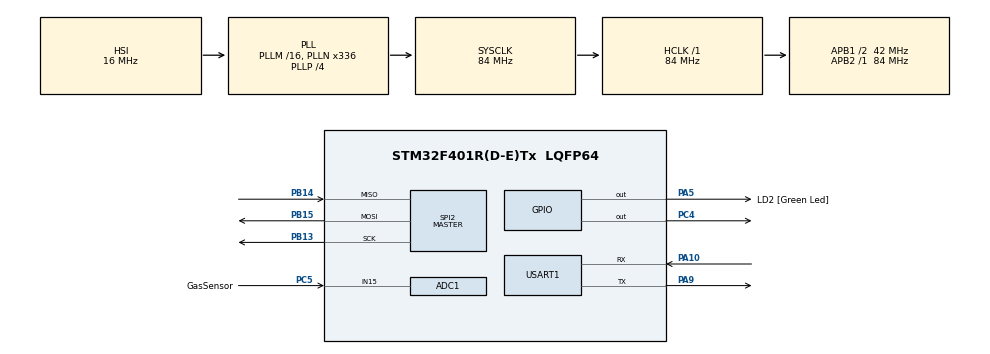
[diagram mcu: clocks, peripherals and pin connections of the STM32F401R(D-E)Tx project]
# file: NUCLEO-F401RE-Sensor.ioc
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Mcu.Family=STM32F4
RCC.CortexFreq_Value=84000000
FATFS._USE_LFN=1
SPI2.VirtualType=VM_MASTER
TIM1.RepetitionCounter=0
VP_RTC_VS_RTC_Activate.Mode=RTC_Enabled
PB15.Signal=SPI2_MOSI
PB13.Signal=SPI2_SCK
RCC.SYSCLKSource=RCC_SYSCLKSOURCE_PLLCLK
ProjectManager.StackSize=0x400
TIM1.Prescaler=62500
RCC.RCC_RTC_Clock_Source=RCC_RTCCLKSOURCE_LSI
RCC.HCLKFreq_Value=84000000
RCC.APB2TimFreq_Value=84000000
RCC.AHBFreq_Value=84000000
Dma.USART1_RX.0.Priority=DMA_PRIORITY_LOW
RCC.HSE_VALUE=8000000
RTC.Minutes=40
SH.ADCx_IN15.0=ADC1_IN15,IN15
PC4.GPIO_Speed=GPIO_SPEED_FREQ_LOW
RTC.Month=RTC_MONTH_SEPTEMBER
PB14.Mode=Full_Duplex_Master
TIM3.Prescaler=64088
PA5.GPIO_PuPd=GPIO_NOPULL
NVIC.TIM2_IRQn=true\:1\:0\:true\:false\:true\:true\:true
TIM4.Period=13440
Dma.USART1_RX.0.MemInc=DMA_MINC_ENABLE
VP_TIM1_VS_ClockSourceINT.Mode=Internal
Mcu.Package=LQFP64
TIM2.Prescaler=62500
SPI2.Mode=SPI_MODE_MASTER
PA10.Signal=USART1_RX
VP_RTC_VS_RTC_Calendar.Mode=RTC_Calendar
Dma.USART1_RX.0.FIFOMode=DMA_FIFOMODE_DISABLE
NVIC.DMA2_Stream2_IRQn=true\:0\:0\:false\:false\:true\:false\:true
RCC.APB1TimFreq_Value=84000000
Dma.USART1_RX.0.Mode=DMA_NORMAL
SPI2.Direction=SPI_DIRECTION_2LINES
PC5.Signal=ADCx_IN15
TIM1.Period=6720
PB13.Mode=Full_Duplex_Master
NVIC.USART1_IRQn=true\:0\:0\:false\:false\:true\:true\:true
Dma.Request0=USART1_RX
Dma.USART1_RX.0.Instance=DMA2_Stream2
VP_TIM3_VS_ClockSourceINT.Mode=Internal
Dma.USART1_RX.0.PeriphDataAlignment=DMA_PDATAALIGN_BYTE
PA10.Mode=Asynchronous
PC4.PinState=GPIO_PIN_RESET
PC4.Signal=GPIO_Output
RCC.APB1CLKDivider=RCC_HCLK_DIV2
PA9.Mode=Asynchronous
ProjectManager.TargetToolchain=STM32CubeIDE
RTC.Year=20
Dma.USART1_RX.0.Direction=DMA_PERIPH_TO_MEMORY
PA9.Signal=USART1_TX
ADC1.Channel-1\#ChannelRegularConversion=ADC_CHANNEL_15
RTC.Format=RTC_FORMAT_BIN
TIM4.Prescaler=62500
RCC.LSE_VALUE=32768
Dma.USART1_RX.0.PeriphInc=DMA_PINC_DISABLE
VP_FATFS_VS_Generic.Mode=User_defined
PB14.Signal=SPI2_MISO
PA5.Signal=GPIO_Output
board=NUCLEO-F401RE
RCC.VCOOutputFreq_Value=336000000
PB15.Mode=Full_Duplex_Master
NVIC.TIM3_IRQn=true\:1\:0\:true\:false\:true\:true\:true
RCC.APB2Freq_Value=84000000
VP_TIM2_VS_ClockSourceINT.Mode=Internal
Dma.USART1_RX.0.MemDataAlignment=DMA_MDATAALIGN_BYTE
RCC.RCC_RTC_Clock_SourceVirtual=RCC_RTCCLKSOURCE_LSE
TIM2.Period=13440
Mcu.Name=STM32F401R(D-E)Tx
FATFS._MAX_SS=4096
ADC1.SamplingTime-1\#ChannelRegularConversion=ADC_SAMPLETIME_3CYCLES
RCC.SYSCLKFreq_VALUE=84000000
RTC.Hours=21
ADC1.master=1
PA5.GPIO_Label=LD2 [Green Led]
PC5.GPIO_Label=GasSensor
USART1.VirtualMode=VM_ASYNC
ADC1.Rank-1\#ChannelRegularConversion=1
ProjectManager.HeapSize=0x200
NVIC.TIM1_UP_TIM10_IRQn=true\:1\:0\:true\:false\:true\:true\:true
RCC.HSI_VALUE=16000000
VP_TIM4_VS_ClockSourceINT.Mode=Internal
RCC.PLLP=RCC_PLLP_DIV4
PA5.GPIO_Speed=GPIO_SPEED_FREQ_LOW
RCC.PLLQ=7
NVIC.PriorityGroup=NVIC_PRIORITYGROUP_1
ADC1.NbrOfConversionFlag=1
RCC.PLLN=336
SPI2.DataSize=SPI_DATASIZE_8BIT
NVIC.TIM4_IRQn=true\:1\:0\:true\:false\:true\:true\:true
RCC.APB1Freq_Value=42000000
PA5.GPIO_Mode=GPIO_MODE_OUTPUT_PP
RTC.Date=14

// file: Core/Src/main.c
/* USER CODE BEGIN Header */
/**
  ******************************************************************************
  * @file           : main.c
  * @brief          : Main program body
  ******************************************************************************
  * @attention
  *
  * <h2><center>&copy; Copyright (c) 2020 STMicroelectronics.
  * All rights reserved.</center></h2>
  *
  * This software component is licensed by ST under BSD 3-Clause license,
  * the "License"; You may not use this file except in compliance with the
  * License. You may obtain a copy of the License at:
  *                        opensource.org/licenses/BSD-3-Clause
  *
  ******************************************************************************
  */
/* USER CODE END Header */
#include "main.h"
#include "fatfs.h"

/* USER CODE BEGIN Includes */
#include "fatfs_sd.h"
#include <string.h>
#include <stdio.h>
#include "MicroSD.h"
#include "wifi.h"

/* USER CODE END Includes */

ADC_HandleTypeDef hadc1;

RTC_HandleTypeDef hrtc;

SPI_HandleTypeDef hspi2;

TIM_HandleTypeDef htim1;
TIM_HandleTypeDef htim2;
TIM_HandleTypeDef htim3;
TIM_HandleTypeDef htim4;

UART_HandleTypeDef huart1;
DMA_HandleTypeDef hdma_usart1_rx;

/* USER CODE BEGIN PV */

RTC_TimeTypeDef sTime = {0};
RTC_DateTypeDef sDate = {0};

int ServerQueriesSocketID = -1;
int GasSensorSocketID = -1;

// ---------------------------------------
// ------------ CONFIG VARS --------------
// ---------------------------------------

WiFi_GeneralInfo wifi_info;

// ---------------------------------------

/* USER CODE END PV */

void SystemClock_Config(void);
static void MX_GPIO_Init(void);
static void MX_DMA_Init(void);
static void MX_ADC1_Init(void);
static void MX_SPI2_Init(void);
static void MX_RTC_Init(void);
static void MX_TIM1_Init(void);
static void MX_USART1_UART_Init(void);
static void MX_TIM2_Init(void);
static void MX_TIM3_Init(void);
static void MX_TIM4_Init(void);
/* USER CODE BEGIN PFP */

void LoadConfigs(void);

/* USER CODE END PFP */

int main(void)
{

  /* MCU Configuration--------------------------------------------------------*/

  /* Reset of all peripherals, Initializes the Flash interface and the Systick. */
  HAL_Init();

  /* Configure the system clock */
  SystemClock_Config();

  /* Initialize all configured peripherals */
  MX_GPIO_Init();
  MX_DMA_Init();
  MX_ADC1_Init();
  MX_SPI2_Init();
  MX_FATFS_Init();
  MX_RTC_Init();
  MX_TIM1_Init();
  MX_USART1_UART_Init();
  MX_TIM2_Init();
  MX_TIM3_Init();
  MX_TIM4_Init();
  /* USER CODE BEGIN 2 */

  LoadConfigs();
  WiFi_Connect(wifi_info.SSID, wifi_info.SecKey, wifi_info.PrivMode);

	HAL_TIM_Base_Start_IT(&htim4);
	HAL_TIM_Base_Start_IT(&htim1);
	HAL_TIM_Base_Start_IT(&htim2);
	HAL_TIM_Base_Start_IT(&htim3);

  /* USER CODE END 2 */

  /* Infinite loop */
  while (1)
  {

  }
}

void SystemClock_Config(void)
{
  RCC_OscInitTypeDef RCC_OscInitStruct = {0};
  RCC_ClkInitTypeDef RCC_ClkInitStruct = {0};
  RCC_PeriphCLKInitTypeDef PeriphClkInitStruct = {0};

  /** Configure the main internal regulator output voltage
  */
  __HAL_RCC_PWR_CLK_ENABLE();
  __HAL_PWR_VOLTAGESCALING_CONFIG(PWR_REGULATOR_VOLTAGE_SCALE2);
  /** Initializes the RCC Oscillators according to the specified parameters
  * in the RCC_OscInitTypeDef structure.
  */
  RCC_OscInitStruct.OscillatorType = RCC_OSCILLATORTYPE_HSI|RCC_OSCILLATORTYPE_LSI;
  RCC_OscInitStruct.HSIState = RCC_HSI_ON;
  RCC_OscInitStruct.HSICalibrationValue = RCC_HSICALIBRATION_DEFAULT;
  RCC_OscInitStruct.LSIState = RCC_LSI_ON;
  RCC_OscInitStruct.PLL.PLLState = RCC_PLL_ON;
  RCC_OscInitStruct.PLL.PLLSource = RCC_PLLSOURCE_HSI;
  RCC_OscInitStruct.PLL.PLLM = 16;
  RCC_OscInitStruct.PLL.PLLN = 336;
  RCC_OscInitStruct.PLL.PLLP = RCC_PLLP_DIV4;
  RCC_OscInitStruct.PLL.PLLQ = 7;
  if (HAL_RCC_OscConfig(&RCC_OscInitStruct) != HAL_OK)
  {
    Error_Handler();
  }
  /** Initializes the CPU, AHB and APB buses clocks
  */
  RCC_ClkInitStruct.ClockType = RCC_CLOCKTYPE_HCLK|RCC_CLOCKTYPE_SYSCLK
                              |RCC_CLOCKTYPE_PCLK1|RCC_CLOCKTYPE_PCLK2;
  RCC_ClkInitStruct.SYSCLKSource = RCC_SYSCLKSOURCE_PLLCLK;
  RCC_ClkInitStruct.AHBCLKDivider = RCC_SYSCLK_DIV1;
  RCC_ClkInitStruct.APB1CLKDivider = RCC_HCLK_DIV2;
  RCC_ClkInitStruct.APB2CLKDivider = RCC_HCLK_DIV1;

  if (HAL_RCC_ClockConfig(&RCC_ClkInitStruct, FLASH_LATENCY_2) != HAL_OK)
  {
    Error_Handler();
  }
  PeriphClkInitStruct.PeriphClockSelection = RCC_PERIPHCLK_RTC;
  PeriphClkInitStruct.RTCClockSelection = RCC_RTCCLKSOURCE_LSI;
  if (HAL_RCCEx_PeriphCLKConfig(&PeriphClkInitStruct) != HAL_OK)
  {
    Error_Handler();
  }
}

static void MX_ADC1_Init(void)
{

  ADC_ChannelConfTypeDef sConfig = {0};

  /** Configure the global features of the ADC (Clock, Resolution, Data Alignment and number of conversion)
  */
  hadc1.Instance = ADC1;
  hadc1.Init.ClockPrescaler = ADC_CLOCK_SYNC_PCLK_DIV4;
  hadc1.Init.Resolution = ADC_RESOLUTION_12B;
  hadc1.Init.ScanConvMode = DISABLE;
  hadc1.Init.ContinuousConvMode = DISABLE;
  hadc1.Init.DiscontinuousConvMode = DISABLE;
  hadc1.Init.ExternalTrigConvEdge = ADC_EXTERNALTRIGCONVEDGE_NONE;
  hadc1.Init.ExternalTrigConv = ADC_SOFTWARE_START;
  hadc1.Init.DataAlign = ADC_DATAALIGN_RIGHT;
  hadc1.Init.NbrOfConversion = 1;
  hadc1.Init.DMAContinuousRequests = DISABLE;
  hadc1.Init.EOCSelection = ADC_EOC_SINGLE_CONV;
  if (HAL_ADC_Init(&hadc1) != HAL_OK)
  {
    Error_Handler();
  }
  /** Configure for the selected ADC regular channel its corresponding rank in the sequencer and its sample time.
  */
  sConfig.Channel = ADC_CHANNEL_15;
  sConfig.Rank = 1;
  sConfig.SamplingTime = ADC_SAMPLETIME_3CYCLES;
  if (HAL_ADC_ConfigChannel(&hadc1, &sConfig) != HAL_OK)
  {
    Error_Handler();
  }

}

static void MX_RTC_Init(void)
{

  RTC_TimeTypeDef sTime = {0};
  RTC_DateTypeDef sDate = {0};

  /** Initialize RTC Only
  */
  hrtc.Instance = RTC;
  hrtc.Init.HourFormat = RTC_HOURFORMAT_24;
  hrtc.Init.AsynchPrediv = 127;
  hrtc.Init.SynchPrediv = 255;
  hrtc.Init.OutPut = RTC_OUTPUT_DISABLE;
  hrtc.Init.OutPutPolarity = RTC_OUTPUT_POLARITY_HIGH;
  hrtc.Init.OutPutType = RTC_OUTPUT_TYPE_OPENDRAIN;
  if (HAL_RTC_Init(&hrtc) != HAL_OK)
  {
    Error_Handler();
  }

  /** Initialize RTC and set the Time and Date
  */
  sTime.Hours = 21;
  sTime.Minutes = 40;
  sTime.Seconds = 0;
  sTime.DayLightSaving = RTC_DAYLIGHTSAVING_NONE;
  sTime.StoreOperation = RTC_STOREOPERATION_RESET;
  if (HAL_RTC_SetTime(&hrtc, &sTime, RTC_FORMAT_BIN) != HAL_OK)
  {
    Error_Handler();
  }
  sDate.WeekDay = RTC_WEEKDAY_MONDAY;
  sDate.Month = RTC_MONTH_SEPTEMBER;
  sDate.Date = 14;
  sDate.Year = 20;

  if (HAL_RTC_SetDate(&hrtc, &sDate, RTC_FORMAT_BIN) != HAL_OK)
  {
    Error_Handler();
  }

}

static void MX_SPI2_Init(void)
{

  /* SPI2 parameter configuration*/
  hspi2.Instance = SPI2;
  hspi2.Init.Mode = SPI_MODE_MASTER;
  hspi2.Init.Direction = SPI_DIRECTION_2LINES;
  hspi2.Init.DataSize = SPI_DATASIZE_8BIT;
  hspi2.Init.CLKPolarity = SPI_POLARITY_LOW;
  hspi2.Init.CLKPhase = SPI_PHASE_1EDGE;
  hspi2.Init.NSS = SPI_NSS_SOFT;
  hspi2.Init.BaudRatePrescaler = SPI_BAUDRATEPRESCALER_2;
  hspi2.Init.FirstBit = SPI_FIRSTBIT_MSB;
  hspi2.Init.TIMode = SPI_TIMODE_DISABLE;
  hspi2.Init.CRCCalculation = SPI_CRCCALCULATION_DISABLE;
  hspi2.Init.CRCPolynomial = 10;
  if (HAL_SPI_Init(&hspi2) != HAL_OK)
  {
    Error_Handler();
  }

}

static void MX_TIM1_Init(void)
{

  TIM_ClockConfigTypeDef sClockSourceConfig = {0};
  TIM_MasterConfigTypeDef sMasterConfig = {0};

  htim1.Instance = TIM1;
  htim1.Init.Prescaler = 62500;
  htim1.Init.CounterMode = TIM_COUNTERMODE_UP;
  htim1.Init.Period = 6720;
  htim1.Init.ClockDivision = TIM_CLOCKDIVISION_DIV1;
  htim1.Init.RepetitionCounter = 0;
  htim1.Init.AutoReloadPreload = TIM_AUTORELOAD_PRELOAD_DISABLE;
  if (HAL_TIM_Base_Init(&htim1) != HAL_OK)
  {
    Error_Handler();
  }
  sClockSourceConfig.ClockSource = TIM_CLOCKSOURCE_INTERNAL;
  if (HAL_TIM_ConfigClockSource(&htim1, &sClockSourceConfig) != HAL_OK)
  {
    Error_Handler();
  }
  sMasterConfig.MasterOutputTrigger = TIM_TRGO_RESET;
  sMasterConfig.MasterSlaveMode = TIM_MASTERSLAVEMODE_DISABLE;
  if (HAL_TIMEx_MasterConfigSynchronization(&htim1, &sMasterConfig) != HAL_OK)
  {
    Error_Handler();
  }

}

static void MX_TIM2_Init(void)
{

  TIM_ClockConfigTypeDef sClockSourceConfig = {0};
  TIM_MasterConfigTypeDef sMasterConfig = {0};

  htim2.Instance = TIM2;
  htim2.Init.Prescaler = 62500;
  htim2.Init.CounterMode = TIM_COUNTERMODE_UP;
  htim2.Init.Period = 13440;
  htim2.Init.ClockDivision = TIM_CLOCKDIVISION_DIV1;
  htim2.Init.AutoReloadPreload = TIM_AUTORELOAD_PRELOAD_DISABLE;
  if (HAL_TIM_Base_Init(&htim2) != HAL_OK)
  {
    Error_Handler();
  }
  sClockSourceConfig.ClockSource = TIM_CLOCKSOURCE_INTERNAL;
  if (HAL_TIM_ConfigClockSource(&htim2, &sClockSourceConfig) != HAL_OK)
  {
    Error_Handler();
  }
  sMasterConfig.MasterOutputTrigger = TIM_TRGO_RESET;
  sMasterConfig.MasterSlaveMode = TIM_MASTERSLAVEMODE_DISABLE;
  if (HAL_TIMEx_MasterConfigSynchronization(&htim2, &sMasterConfig) != HAL_OK)
  {
    Error_Handler();
  }

}

static void MX_TIM3_Init(void)
{

  TIM_ClockConfigTypeDef sClockSourceConfig = {0};
  TIM_MasterConfigTypeDef sMasterConfig = {0};

  htim3.Instance = TIM3;
  htim3.Init.Prescaler = 62500;
  htim3.Init.CounterMode = TIM_COUNTERMODE_UP;
  htim3.Init.Period = 26880;
  htim3.Init.ClockDivision = TIM_CLOCKDIVISION_DIV1;
  htim3.Init.AutoReloadPreload = TIM_AUTORELOAD_PRELOAD_DISABLE;
  if (HAL_TIM_Base_Init(&htim3) != HAL_OK)
  {
    Error_Handler();
  }
  sClockSourceConfig.ClockSource = TIM_CLOCKSOURCE_INTERNAL;
  if (HAL_TIM_ConfigClockSource(&htim3, &sClockSourceConfig) != HAL_OK)
  {
    Error_Handler();
  }
  sMasterConfig.MasterOutputTrigger = TIM_TRGO_RESET;
  sMasterConfig.MasterSlaveMode = TIM_MASTERSLAVEMODE_DISABLE;
  if (HAL_TIMEx_MasterConfigSynchronization(&htim3, &sMasterConfig) != HAL_OK)
  {
    Error_Handler();
  }

}

static void MX_TIM4_Init(void)
{

  TIM_ClockConfigTypeDef sClockSourceConfig = {0};
  TIM_MasterConfigTypeDef sMasterConfig = {0};

  htim4.Instance = TIM4;
  htim4.Init.Prescaler = 62500;
  htim4.Init.CounterMode = TIM_COUNTERMODE_UP;
  htim4.Init.Period = 13440;
  htim4.Init.ClockDivision = TIM_CLOCKDIVISION_DIV1;
  htim4.Init.AutoReloadPreload = TIM_AUTORELOAD_PRELOAD_DISABLE;
  if (HAL_TIM_Base_Init(&htim4) != HAL_OK)
  {
    Error_Handler();
  }
  sClockSourceConfig.ClockSource = TIM_CLOCKSOURCE_INTERNAL;
  if (HAL_TIM_ConfigClockSource(&htim4, &sClockSourceConfig) != HAL_OK)
  {
    Error_Handler();
  }
  sMasterConfig.MasterOutputTrigger = TIM_TRGO_RESET;
  sMasterConfig.MasterSlaveMode = TIM_MASTERSLAVEMODE_DISABLE;
  if (HAL_TIMEx_MasterConfigSynchronization(&htim4, &sMasterConfig) != HAL_OK)
  {
    Error_Handler();
  }

}

static void MX_USART1_UART_Init(void)
{

  huart1.Instance = USART1;
  huart1.Init.BaudRate = 115200;
  huart1.Init.WordLength = UART_WORDLENGTH_8B;
  huart1.Init.StopBits = UART_STOPBITS_1;
  huart1.Init.Parity = UART_PARITY_NONE;
  huart1.Init.Mode = UART_MODE_TX_RX;
  huart1.Init.HwFlowCtl = UART_HWCONTROL_NONE;
  huart1.Init.OverSampling = UART_OVERSAMPLING_16;
  if (HAL_UART_Init(&huart1) != HAL_OK)
  {
    Error_Handler();
  }

}

static void MX_DMA_Init(void)
{

  /* DMA controller clock enable */
  __HAL_RCC_DMA2_CLK_ENABLE();

  /* DMA interrupt init */
  /* DMA2_Stream2_IRQn interrupt configuration */
  HAL_NVIC_SetPriority(DMA2_Stream2_IRQn, 0, 0);
  HAL_NVIC_EnableIRQ(DMA2_Stream2_IRQn);

}

static void MX_GPIO_Init(void)
{
  GPIO_InitTypeDef GPIO_InitStruct = {0};

  /* GPIO Ports Clock Enable */
  __HAL_RCC_GPIOA_CLK_ENABLE();
  __HAL_RCC_GPIOC_CLK_ENABLE();
  __HAL_RCC_GPIOB_CLK_ENABLE();

  /*Configure GPIO pin Output Level */
  HAL_GPIO_WritePin(LD2_GPIO_Port, LD2_Pin, GPIO_PIN_RESET);

  /*Configure GPIO pin Output Level */
  HAL_GPIO_WritePin(GPIOC, GPIO_PIN_4, GPIO_PIN_RESET);

  /*Configure GPIO pin : LD2_Pin */
  GPIO_InitStruct.Pin = LD2_Pin;
  GPIO_InitStruct.Mode = GPIO_MODE_OUTPUT_PP;
  GPIO_InitStruct.Pull = GPIO_NOPULL;
  GPIO_InitStruct.Speed = GPIO_SPEED_FREQ_LOW;
  HAL_GPIO_Init(LD2_GPIO_Port, &GPIO_InitStruct);

  /*Configure GPIO pin : PC4 */
  GPIO_InitStruct.Pin = GPIO_PIN_4;
  GPIO_InitStruct.Mode = GPIO_MODE_OUTPUT_PP;
  GPIO_InitStruct.Pull = GPIO_NOPULL;
  GPIO_InitStruct.Speed = GPIO_SPEED_FREQ_LOW;
  HAL_GPIO_Init(GPIOC, &GPIO_InitStruct);

}

/* USER CODE BEGIN 4 */

uint32_t ParseIntParameter(char *buffer, const char *param, uint32_t defaultValue)
{
	char *parameterStr = strstr(buffer, param);
	uint8_t pointer = strlen(param);
	uint32_t conversionError = 0;
	uint32_t result = 0;

	while(parameterStr[pointer] != ';' && conversionError == 0)
	{
		if(parameterStr[pointer] >= '0' && parameterStr[pointer] <= '9')
		{
			result = (result * 10) + (parameterStr[pointer++] - '0');
		}
		else
		{
			conversionError = 1;
		}
	}

	if(conversionError == 1)
	{
		return defaultValue;
	}

	return result;
}

void ParseStrParameter(char *buffer, const char *param, char *result, size_t arraySize)
{
	char *parameterStr = strstr(buffer, param);
	uint8_t pointer = strlen(param);
	memccpy(result, parameterStr + pointer, ';', arraySize);
	result[strlen(result) - 1] = '\0';
}

void LoadConfigs(void)
{
	char buffer[1000];
	UINT bytesRead;

	ReadConfigs(buffer, &bytesRead);

	sDate.Date = ParseIntParameter(buffer, "Date=", 1);
	sDate.Month = ParseIntParameter(buffer, "Month=", 1);
	sDate.Year = ParseIntParameter(buffer, "Year=", 70);
	sDate.WeekDay = ParseIntParameter(buffer, "WeekDay=", 4);

	sTime.Hours = ParseIntParameter(buffer, "Hours=", 0);
	sTime.Minutes = ParseIntParameter(buffer, "Minutes=", 0);
	sTime.Seconds = ParseIntParameter(buffer, "Seconds=", 0);

	HAL_RTC_SetTime(&hrtc, &sTime, RTC_FORMAT_BIN);
	HAL_RTC_SetDate(&hrtc, &sDate, RTC_FORMAT_BIN);

	wifi_info.Port = ParseIntParameter(buffer, "Port=", 0);
	wifi_info.PrivMode = ParseIntParameter(buffer, "PrivateMode=", 0);
	ParseStrParameter(buffer, "SSID=", wifi_info.SSID, sizeof(wifi_info.SSID));
	ParseStrParameter(buffer, "SecurityKey=", wifi_info.SecKey, sizeof(wifi_info.SecKey));
	ParseStrParameter(buffer, "IP=", wifi_info.IP, sizeof(wifi_info.IP));
	ParseStrParameter(buffer, "Protocol=", wifi_info.Protocol, sizeof(wifi_info.Protocol));

	ParseStrParameter(buffer, "OwnerID=", mc_info.OwnerID, sizeof(mc_info.OwnerID));
	ParseStrParameter(buffer, "MicrocontrollerID=", mc_info.MicrocontrollerID, sizeof(mc_info.MicrocontrollerID));
	ParseStrParameter(buffer, "SensorID=", mc_info.SensorID, sizeof(mc_info.SensorID));
	ParseStrParameter(buffer, "MicrocontrollerPassword=", mc_info.MicrocontrollerPassword, sizeof(mc_info.MicrocontrollerPassword));

	int writeSDIntervalSeconds = ParseIntParameter(buffer, "writeSDIntervalSeconds=", MinSecondsBetweenSDWrite);
	int transmitIntervalSeconds = ParseIntParameter(buffer, "transmitIntervalSeconds=", MinSecondsBetweenWifiTransmit);
	int requestIntervalSeconds = ParseIntParameter(buffer, "requestIntervalSeconds=", MinSecondsBetweenWifiRequest);

	if(writeSDIntervalSeconds > MaxSecondsBetweenSDWrite)
	{
		writeSDIntervalSeconds = MaxSecondsBetweenSDWrite;
	}
	else if (writeSDIntervalSeconds < MinSecondsBetweenSDWrite)
	{
		writeSDIntervalSeconds = MinSecondsBetweenSDWrite;
	}

	if(transmitIntervalSeconds > MaxSecondsBetweenWifiTransmit)
	{
		transmitIntervalSeconds = MaxSecondsBetweenWifiTransmit;
	}
	else if (transmitIntervalSeconds < MinSecondsBetweenWifiTransmit)
	{
		transmitIntervalSeconds = MinSecondsBetweenWifiTransmit;
	}

	if(requestIntervalSeconds > MaxSecondsBetweenWifiRequest)
	{
		requestIntervalSeconds = MaxSecondsBetweenWifiRequest;
	}
	else if (requestIntervalSeconds < MinSecondsBetweenWifiRequest)
	{
		requestIntervalSeconds = MinSecondsBetweenWifiRequest;
	}

	htim1.Instance->ARR = writeSDIntervalSeconds * TactsInOneSecond;
	htim2.Instance->ARR = transmitIntervalSeconds * TactsInOneSecond;
	htim3.Instance->ARR = requestIntervalSeconds * TactsInOneSecond;
}

uint16_t GetSensorValue(void)
{
	uint16_t sensorValue = 0;
	HAL_ADC_Start(&hadc1);
	HAL_ADC_PollForConversion(&hadc1, HAL_MAX_DELAY);
	sensorValue = HAL_ADC_GetValue(&hadc1);

	return sensorValue;
}

void WriteSensorData(const char* sensorID)
{
	HAL_GPIO_WritePin(GPIOA, LD2_Pin, GPIO_PIN_SET);

	uint16_t sensorValue;
	if (ReadDataFromSensor(sensorID, &sensorValue) == 1)
	{
		char line[100];

		snprintf(line, 99, "%s;%d:%d:%d;%d\n", sensorID, sTime.Hours, sTime.Minutes, sTime.Seconds, sensorValue);

		WriteFile(line);
	}

	HAL_GPIO_WritePin(GPIOA, LD2_Pin, GPIO_PIN_RESET);
}

void FromatSensorValueForWiFi(uint16_t sensorValue, char *result, size_t size)
{
	RTC_TimeTypeDef time = {0};
	RTC_DateTypeDef date = {0};

	HAL_RTC_GetTime(&hrtc, &time, RTC_FORMAT_BIN);
	HAL_RTC_GetDate(&hrtc, &date, RTC_FORMAT_BIN);

	snprintf(result, size, "%s|%s;%d/%d/%d %d:%d:%d;%d", SERVER_DATA,
		mc_info.SensorID,
		date.Month, date.Date, date.Year, time.Hours, time.Minutes, time.Seconds,
		sensorValue);
}

void SendData(const char *data)
{
	WiFi_Status_t wifi_status = WiFi_MODULE_SUCCESS;

	if(WiFi_PingServer(wifi_info.IP) != WiFi_MODULE_SUCCESS)
	{
		wifi_status = WiFi_Connect(wifi_info.SSID, wifi_info.SecKey, wifi_info.PrivMode);
	}

	if(wifi_status == WiFi_MODULE_SUCCESS)
	{
		if (GasSensorSocketID != -1)
		{
			Socket_Close(&GasSensorSocketID);
		}

		GasSensorSocketID = Socket_Connect(wifi_info.IP, wifi_info.Port, wifi_info.Protocol);

		if(GasSensorSocketID != -1)
		{
			char receivedData[10];

			if(Socket_TransmitData(GasSensorSocketID, data) == Socket_SUCCESS)
			{
				Socket_ReadData(GasSensorSocketID, receivedData);
			}

			Socket_Close(&ServerQueriesSocketID);
		}
	}
}

void CheckRequests()
{
	WiFi_Status_t wifi_status = WiFi_MODULE_SUCCESS;

	if(WiFi_PingServer(wifi_info.IP) != WiFi_MODULE_SUCCESS)
	{
		wifi_status = WiFi_Connect(wifi_info.SSID, wifi_info.SecKey, wifi_info.PrivMode);
	}

	if(wifi_status == WiFi_MODULE_SUCCESS)
	{
		if (ServerQueriesSocketID != -1)
		{
			Socket_Close(&ServerQueriesSocketID);
		}

		ServerQueriesSocketID = Socket_Connect(wifi_info.IP, wifi_info.Port, wifi_info.Protocol);

		if(ServerQueriesSocketID != -1)
		{
			Socket_Status_t status = Socket_TransmitData(ServerQueriesSocketID, SERVER_REQUEST);

			if(status == Socket_SUCCESS)
			{
				char receivedData[47];
				Socket_ReadData(ServerQueriesSocketID, receivedData);

				if(strstr(receivedData, SERVER_SV_RESP) != NULL)
				{
					char queriedSensorID[37];
					ParseStrParameter(receivedData, "Server_SV|", queriedSensorID, sizeof(queriedSensorID));
					queriedSensorID[36] = '\0';

					uint16_t sensorValue;
					if (ReadDataFromSensor(queriedSensorID, &sensorValue) == 1)
					{
						char sensorData[TransmitDataLength];
						FromatSensorValueForWiFi(sensorValue, sensorData, TransmitDataLength);

						char receivedData[10];

						if(Socket_TransmitData(ServerQueriesSocketID, sensorData) == Socket_SUCCESS)
						{
							Socket_ReadData(ServerQueriesSocketID, receivedData);
						}
					}
				}
			}

			Socket_Close(&ServerQueriesSocketID);
		}
	}
}

int ReadDataFromSensor(const char* sensorID, uint16_t* sensorValue)
{
	if (strcasecmp(sensorID, mc_info.SensorID) == 0)
	{
		*sensorValue = GetSensorValue();
		return 1;
	}

	return 0;
}

void SynchronizeDateTime()
{
	WiFi_Status_t wifi_status = WiFi_MODULE_SUCCESS;

	if(WiFi_PingServer(wifi_info.IP) != WiFi_MODULE_SUCCESS)
	{
		wifi_status = WiFi_Connect(wifi_info.SSID, wifi_info.SecKey, wifi_info.PrivMode);
	}

	if(wifi_status == WiFi_MODULE_SUCCESS)
	{
		int dateTimeSocketID = Socket_Connect(wifi_info.IP, wifi_info.Port, wifi_info.Protocol);

		if(dateTimeSocketID != -1)
		{
			Socket_Status_t status;
			char receivedData[80];
			char sendData[25];

			snprintf(sendData, sizeof(sendData), "%s|%d/%d/%d %d:%d:%d", STM_DATETIME,
				sDate.Month, sDate.Date, sDate.Year,
				sTime.Hours, sTime.Minutes, sTime.Seconds);

			status = Socket_TransmitData(dateTimeSocketID, sendData);

			if(status == Socket_SUCCESS)
			{
				Socket_ReadData(dateTimeSocketID, receivedData);

				if (strstr(receivedData, SERVER_DT_RESP) != NULL)
				{
					sDate.Date = ParseIntParameter(receivedData, "Date=", 1);
					sDate.Month = ParseIntParameter(receivedData, "Month=", 1);
					sDate.Year = ParseIntParameter(receivedData, "Year=", 70);
					sDate.WeekDay = ParseIntParameter(receivedData, "WeekDay=", 4);

					sTime.Hours = ParseIntParameter(receivedData, "Hours=", 0);
					sTime.Minutes = ParseIntParameter(receivedData, "Minutes=", 0);
					sTime.Seconds = ParseIntParameter(receivedData, "Seconds=", 0);

					HAL_RTC_SetTime(&hrtc, &sTime, RTC_FORMAT_BIN);
					HAL_RTC_SetDate(&hrtc, &sDate, RTC_FORMAT_BIN);

					HAL_TIM_Base_Stop_IT(&htim4);
				}
			}

			Socket_Close(&dateTimeSocketID);
		}
	}
}

/* USER CODE END 4 */

void Error_Handler(void)
{
}

/************************ (C) COPYRIGHT STMicroelectronics *****END OF FILE****/
